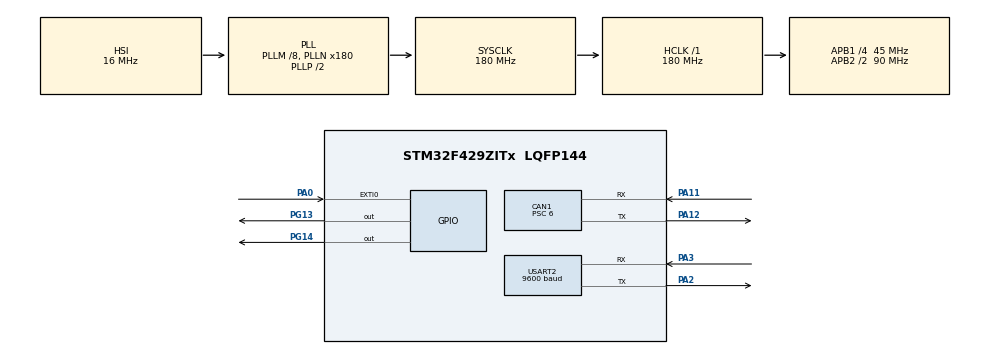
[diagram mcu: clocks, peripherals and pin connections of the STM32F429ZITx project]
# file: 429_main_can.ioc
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CAN1.BS1=CAN_BS1_12TQ
CAN1.BS2=CAN_BS2_2TQ
CAN1.CalculateBaudRate=500000
CAN1.CalculateTimeBit=2000
CAN1.CalculateTimeQuantum=133.33333333333331
CAN1.Prescaler=6
Mcu.Family=STM32F4
Mcu.Name=STM32F429ZITx
Mcu.Package=LQFP144
NVIC.EXTI0_IRQn=true\:0\:0\:false\:true\:true\:1\:true\:true\:true
NVIC.PriorityGroup=NVIC_PRIORITYGROUP_4
NVIC.RCC_IRQn=true\:0\:0\:false\:true\:true\:2\:true\:false\:true
NVIC.USART2_IRQn=true\:0\:0\:false\:true\:true\:3\:true\:true\:true
PA0/WKUP.Signal=GPXTI0
PA11.Mode=CAN_Activate
PA11.Signal=CAN1_RX
PA12.Mode=CAN_Activate
PA12.Signal=CAN1_TX
PA13.Mode=Serial_Wire
PA13.Signal=SYS_JTMS-SWDIO
PA14.Mode=Serial_Wire
PA14.Signal=SYS_JTCK-SWCLK
PA2.Mode=Asynchronous
PA2.Signal=USART2_TX
PA3.Mode=Asynchronous
PA3.Signal=USART2_RX
PG13.Signal=GPIO_Output
PG14.Signal=GPIO_Output
PH0/OSC_IN.Mode=HSE-External-Oscillator
PH0/OSC_IN.Signal=RCC_OSC_IN
PH1/OSC_OUT.Mode=HSE-External-Oscillator
PH1/OSC_OUT.Signal=RCC_OSC_OUT
ProjectManager.HeapSize=0x200
ProjectManager.StackSize=0x400
ProjectManager.TargetToolchain=STM32CubeIDE
RCC.48MHZClocksFreq_Value=90000000
RCC.AHBFreq_Value=180000000
RCC.APB1CLKDivider=RCC_HCLK_DIV4
RCC.APB1Freq_Value=45000000
RCC.APB1TimFreq_Value=90000000
RCC.APB2CLKDivider=RCC_HCLK_DIV2
RCC.APB2Freq_Value=90000000
RCC.APB2TimFreq_Value=180000000
RCC.CortexFreq_Value=180000000
RCC.HCLKFreq_Value=180000000
RCC.HSE_VALUE=8000000
RCC.HSI_VALUE=16000000
RCC.LSE_VALUE=32768
RCC.PLLM=8
RCC.PLLN=180
RCC.SYSCLKFreq_VALUE=180000000
RCC.SYSCLKSource=RCC_SYSCLKSOURCE_PLLCLK
RCC.VCOOutputFreq_Value=360000000
USART2.BaudRate=9600
USART2.VirtualMode=VM_ASYNC
board=custom

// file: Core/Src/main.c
/* USER CODE BEGIN Header */
/**
  ******************************************************************************
  * @file           : main.c
  * @brief          : Main program body
  ******************************************************************************
  * @attention
  *
  * Copyright (c) 2024 STMicroelectronics.
  * All rights reserved.
  *
  * This software is licensed under terms that can be found in the LICENSE file
  * in the root directory of this software component.
  * If no LICENSE file comes with this software, it is provided AS-IS.
  *
  ******************************************************************************
  */
/* USER CODE END Header */
#include "main.h"

CAN_HandleTypeDef hcan1;

UART_HandleTypeDef huart2;

void SystemClock_Config(void);
static void MX_GPIO_Init(void);
static void MX_CAN1_Init(void);
static void MX_USART2_UART_Init(void);
static void MX_NVIC_Init(void);

/* USER CODE BEGIN 0 */
CAN_TxHeaderTypeDef Tx0Header;
CAN_TxHeaderTypeDef Tx1Header;
CAN_TxHeaderTypeDef Tx2Header;
CAN_TxHeaderTypeDef Tx3Header;
CAN_TxHeaderTypeDef Tx4Header;
uint8_t Rx_data[8];
uint32_t TxMailbox;

void Tx_msg(uint8_t tar, uint8_t cont, uint8_t status){
	uint8_t Tx_data[8];
	if(status == 0){
		HAL_GPIO_TogglePin(GPIOC, GPIO_PIN_14);
		if(tar == 0){ // vibe
			Tx_data[0] = cont;
			HAL_CAN_AddTxMessage(&hcan1, &Tx0Header, Tx_data, &TxMailbox);
		}
		else if(tar == 1){ // LED Control
			Tx_data[0] = cont;       // Control Rx_Data[1] 0 -> off, 1 -> on, 3 -> brightness, 4 -> change-
			Tx_data[1] = Rx_data[2]; // RED
			Tx_data[2] = Rx_data[3]; // GREEN
			Tx_data[3] = Rx_data[4]; // BLUE
			Tx_data[4] = Rx_data[5]; // Brightness
			HAL_CAN_AddTxMessage(&hcan1, &Tx1Header, Tx_data, &TxMailbox);

		}
		else if(tar == 2){ // linear
			Tx_data[0] = cont;
			HAL_CAN_AddTxMessage(&hcan1, &Tx2Header, Tx_data, &TxMailbox);
		}
		else if(tar == 3){ // motor
			Tx_data[0] = cont;
			HAL_CAN_AddTxMessage(&hcan1, &Tx3Header, Tx_data, &TxMailbox);
		}
	}
	else if(status == 1){ //auto
		if(Rx_data[1]==1){
			Tx_data[0] = 1;
			HAL_GPIO_TogglePin(GPIOG, GPIO_PIN_14);
			HAL_CAN_AddTxMessage(&hcan1, &Tx4Header, Tx_data, &TxMailbox);
		}
		else if(Rx_data[1] == 0){
			Tx_data[0] = 0;
			HAL_CAN_AddTxMessage(&hcan1, &Tx4Header, Tx_data, &TxMailbox);
		}
	}
}

//void HAL_GPIO_EXTI_Callback(uint16_t GPOI_PIN){
//	uint8_t Tx_data[8];
//	Tx_data[0] = 1;
//	HAL_CAN_AddTxMessage(&hcan1, &Tx4Header, Tx_data, &TxMailbox);
//	HAL_GPIO_TogglePin(GPIOG, GPIO_PIN_14);
//}

void HAL_UART_RxCpltCallback(UART_HandleTypeDef *huart){
    if(huart->Instance == USART2){
    	if(Rx_data[6] == 1)
    		HAL_GPIO_TogglePin(GPIOG, GPIO_PIN_13);
        Tx_msg(Rx_data[0], Rx_data[1], Rx_data[6]);
        HAL_UART_Receive_IT(&huart2, Rx_data, sizeof(Rx_data));
    }
}

/* USER CODE END 0 */

int main(void)
{

  /* MCU Configuration--------------------------------------------------------*/

  /* Reset of all peripherals, Initializes the Flash interface and the Systick. */
  HAL_Init();

  /* Configure the system clock */
  SystemClock_Config();

  /* Initialize all configured peripherals */
  MX_GPIO_Init();
  MX_CAN1_Init();
  MX_USART2_UART_Init();

  /* Initialize interrupts */
  MX_NVIC_Init();
  /* USER CODE BEGIN 2 */
  HAL_UART_Receive_IT(&huart2, Rx_data, sizeof(Rx_data));

  HAL_CAN_Start(&hcan1);

  //진동 101
  Tx0Header.DLC = 1; // data length
  Tx0Header.IDE = CAN_ID_STD;
  Tx0Header.RTR = CAN_RTR_DATA;
  Tx0Header.StdId = 0x101;

  //led 102
  Tx1Header.DLC = 5; // data length
  Tx1Header.IDE = CAN_ID_STD;
  Tx1Header.RTR = CAN_RTR_DATA;
  Tx1Header.StdId = 0x102;

  //linear 103
  Tx2Header.DLC = 1; // data length
  Tx2Header.IDE = CAN_ID_STD;
  Tx2Header.RTR = CAN_RTR_DATA;
  Tx2Header.StdId = 0x103;

  //motor 104
  Tx3Header.DLC = 1; // data length
  Tx3Header.IDE = CAN_ID_STD;
  Tx3Header.RTR = CAN_RTR_DATA;
  Tx3Header.StdId = 0x104;

  //auto 200
  Tx4Header.DLC = 1; // data length
  Tx4Header.IDE = CAN_ID_STD;
  Tx4Header.RTR = CAN_RTR_DATA;
  Tx4Header.StdId = 0x200;

  /* USER CODE END 2 */

  /* Infinite loop */
  while (1)
  {

  }
}

void SystemClock_Config(void)
{
  RCC_OscInitTypeDef RCC_OscInitStruct = {0};
  RCC_ClkInitTypeDef RCC_ClkInitStruct = {0};

  /** Configure the main internal regulator output voltage
  */
  __HAL_RCC_PWR_CLK_ENABLE();
  __HAL_PWR_VOLTAGESCALING_CONFIG(PWR_REGULATOR_VOLTAGE_SCALE1);

  /** Initializes the RCC Oscillators according to the specified parameters
  * in the RCC_OscInitTypeDef structure.
  */
  RCC_OscInitStruct.OscillatorType = RCC_OSCILLATORTYPE_HSI;
  RCC_OscInitStruct.HSIState = RCC_HSI_ON;
  RCC_OscInitStruct.HSICalibrationValue = RCC_HSICALIBRATION_DEFAULT;
  RCC_OscInitStruct.PLL.PLLState = RCC_PLL_ON;
  RCC_OscInitStruct.PLL.PLLSource = RCC_PLLSOURCE_HSI;
  RCC_OscInitStruct.PLL.PLLM = 8;
  RCC_OscInitStruct.PLL.PLLN = 180;
  RCC_OscInitStruct.PLL.PLLP = RCC_PLLP_DIV2;
  RCC_OscInitStruct.PLL.PLLQ = 4;
  if (HAL_RCC_OscConfig(&RCC_OscInitStruct) != HAL_OK)
  {
    Error_Handler();
  }

  /** Activate the Over-Drive mode
  */
  if (HAL_PWREx_EnableOverDrive() != HAL_OK)
  {
    Error_Handler();
  }

  /** Initializes the CPU, AHB and APB buses clocks
  */
  RCC_ClkInitStruct.ClockType = RCC_CLOCKTYPE_HCLK|RCC_CLOCKTYPE_SYSCLK
                              |RCC_CLOCKTYPE_PCLK1|RCC_CLOCKTYPE_PCLK2;
  RCC_ClkInitStruct.SYSCLKSource = RCC_SYSCLKSOURCE_PLLCLK;
  RCC_ClkInitStruct.AHBCLKDivider = RCC_SYSCLK_DIV1;
  RCC_ClkInitStruct.APB1CLKDivider = RCC_HCLK_DIV4;
  RCC_ClkInitStruct.APB2CLKDivider = RCC_HCLK_DIV2;

  if (HAL_RCC_ClockConfig(&RCC_ClkInitStruct, FLASH_LATENCY_5) != HAL_OK)
  {
    Error_Handler();
  }
}

/**
  * @brief NVIC Configuration.
  * @retval None
  */
static void MX_NVIC_Init(void)
{
  /* EXTI0_IRQn interrupt configuration */
  HAL_NVIC_SetPriority(EXTI0_IRQn, 0, 0);
  HAL_NVIC_EnableIRQ(EXTI0_IRQn);
  /* RCC_IRQn interrupt configuration */
  HAL_NVIC_SetPriority(RCC_IRQn, 0, 0);
  HAL_NVIC_EnableIRQ(RCC_IRQn);
  /* USART2_IRQn interrupt configuration */
  HAL_NVIC_SetPriority(USART2_IRQn, 0, 0);
  HAL_NVIC_EnableIRQ(USART2_IRQn);
}

static void MX_CAN1_Init(void)
{

  hcan1.Instance = CAN1;
  hcan1.Init.Prescaler = 6;
  hcan1.Init.Mode = CAN_MODE_NORMAL;
  hcan1.Init.SyncJumpWidth = CAN_SJW_1TQ;
  hcan1.Init.TimeSeg1 = CAN_BS1_12TQ;
  hcan1.Init.TimeSeg2 = CAN_BS2_2TQ;
  hcan1.Init.TimeTriggeredMode = DISABLE;
  hcan1.Init.AutoBusOff = DISABLE;
  hcan1.Init.AutoWakeUp = DISABLE;
  hcan1.Init.AutoRetransmission = DISABLE;
  hcan1.Init.ReceiveFifoLocked = DISABLE;
  hcan1.Init.TransmitFifoPriority = DISABLE;
  if (HAL_CAN_Init(&hcan1) != HAL_OK)
  {
    Error_Handler();
  }

}

static void MX_USART2_UART_Init(void)
{

  huart2.Instance = USART2;
  huart2.Init.BaudRate = 9600;
  huart2.Init.WordLength = UART_WORDLENGTH_8B;
  huart2.Init.StopBits = UART_STOPBITS_1;
  huart2.Init.Parity = UART_PARITY_NONE;
  huart2.Init.Mode = UART_MODE_TX_RX;
  huart2.Init.HwFlowCtl = UART_HWCONTROL_NONE;
  huart2.Init.OverSampling = UART_OVERSAMPLING_16;
  if (HAL_UART_Init(&huart2) != HAL_OK)
  {
    Error_Handler();
  }

}

static void MX_GPIO_Init(void)
{
  GPIO_InitTypeDef GPIO_InitStruct = {0};

  /* GPIO Ports Clock Enable */
  __HAL_RCC_GPIOH_CLK_ENABLE();
  __HAL_RCC_GPIOA_CLK_ENABLE();
  __HAL_RCC_GPIOG_CLK_ENABLE();

  /*Configure GPIO pin Output Level */
  HAL_GPIO_WritePin(GPIOG, GPIO_PIN_13|GPIO_PIN_14, GPIO_PIN_RESET);

  /*Configure GPIO pin : PA0 */
  GPIO_InitStruct.Pin = GPIO_PIN_0;
  GPIO_InitStruct.Mode = GPIO_MODE_IT_RISING;
  GPIO_InitStruct.Pull = GPIO_NOPULL;
  HAL_GPIO_Init(GPIOA, &GPIO_InitStruct);

  /*Configure GPIO pins : PG13 PG14 */
  GPIO_InitStruct.Pin = GPIO_PIN_13|GPIO_PIN_14;
  GPIO_InitStruct.Mode = GPIO_MODE_OUTPUT_PP;
  GPIO_InitStruct.Pull = GPIO_NOPULL;
  GPIO_InitStruct.Speed = GPIO_SPEED_FREQ_LOW;
  HAL_GPIO_Init(GPIOG, &GPIO_InitStruct);

}

void Error_Handler(void)
{
  __disable_irq();
  while (1)
  {
  }
}
